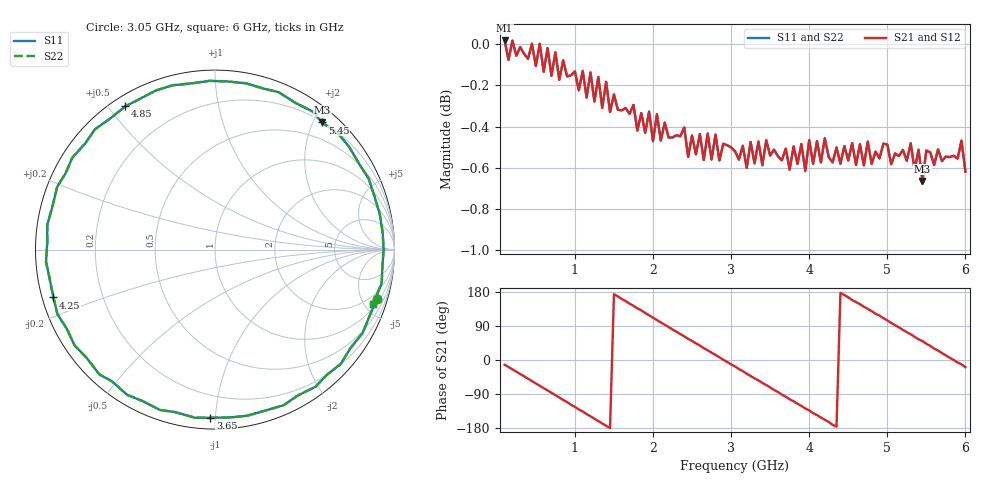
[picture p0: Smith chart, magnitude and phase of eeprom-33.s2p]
! Created with skrf 2.0.0 (http://scikit-rf.org).
# Hz S RI R 50.0
!freq ReS11 ImS11 ReS21 ImS21 ReS12 ImS12 ReS22 ImS22
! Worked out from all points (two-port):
!   119 points, 100 MHz to 6 GHz, reference 50 ohm
!   highest |S21| = 0.02 dB at 100 MHz (marker M1); lowest = -0.7 dB at 5.45 GHz (marker M2)
!   |S21| within 3 dB of the highest: start of sweep to end of sweep
!   lowest |S11| = -0.7 dB at 5.45 GHz (marker M3), VSWR 26.17, Z = 10.7 + j107 ohm
!   |S11| at or under -10 dB: nowhere
!   |S22| runs from -0.7 to 0.0 dB; largest |S21 - S12| = 0
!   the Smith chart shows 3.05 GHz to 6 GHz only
!   S11 on the Smith chart (normalised r, x): 3.05 GHz: 1.31, -6.40; 3.65 GHz: 0.06, -0.97; 4.25 GHz: 0.03, -0.14; 4.85 GHz: 0.04, +0.55; 5.45 GHz: 0.21, +2.13; 6 GHz: 1.26, -5.74
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1e8  0.9785 -0.2166  0.9785 -0.2166  0.9785 -0.2166  0.9785 -0.2166
4e8  0.6427 -0.7556  0.6427 -0.7556  0.6427 -0.7556  0.6427 -0.7556
6.5e8  0.1694 -0.9834  0.1694 -0.9834  0.1694 -0.9834  0.1694 -0.9834
1.1e9  -0.7089 -0.6842  -0.7089 -0.6842  -0.7089 -0.6842  -0.7089 -0.6842
1.3e9  -0.9293 -0.3169  -0.9293 -0.3169  -0.9293 -0.3169  -0.9293 -0.3169
1.55e9  -0.9428 0.2014  -0.9428 0.2014  -0.9428 0.2014  -0.9428 0.2014
1.85e9  -0.6304 0.727  -0.6304 0.727  -0.6304 0.727  -0.6304 0.727
2.1e9  -0.1547 0.9349  -0.1547 0.9349  -0.1547 0.9349  -0.1547 0.9349
2.35e9  0.3498 0.8831  0.3498 0.8831  0.3498 0.8831  0.3498 0.8831
2.6e9  0.748 0.5872  0.748 0.5872  0.748 0.5872  0.748 0.5872
2.8e9  0.9246 0.2212  0.9246 0.2212  0.9246 0.2212  0.9246 0.2212
3.05e9  0.9004 -0.2765  0.9004 -0.2765  0.9004 -0.2765  0.9004 -0.2765
3.35e9  0.5589 -0.7645  0.5589 -0.7645  0.5589 -0.7645  0.5589 -0.7645
3.65e9  -0.0262 -0.9368  -0.0262 -0.9368  -0.0262 -0.9368  -0.0262 -0.9368
4.05e9  -0.7163 -0.6014  -0.7163 -0.6014  -0.7163 -0.6014  -0.7163 -0.6014
4.25e9  -0.9002 -0.2665  -0.9002 -0.2665  -0.9002 -0.2665  -0.9002 -0.2665
4.55e9  -0.8793 0.3495  -0.8793 0.3495  -0.8793 0.3495  -0.8793 0.3495
4.85e9  -0.4987 0.7988  -0.4987 0.7988  -0.4987 0.7988  -0.4987 0.7988
5.05e9  -0.1276 0.9264  -0.1276 0.9264  -0.1276 0.9264  -0.1276 0.9264
5.45e9  0.597 0.7084  0.597 0.7084  0.597 0.7084  0.597 0.7084
5.75e9  0.9182 0.1967  0.9182 0.1967  0.9182 0.1967  0.9182 0.1967
6e9  0.8811 -0.3015  0.8811 -0.3015  0.8811 -0.3015  0.8811 -0.3015
